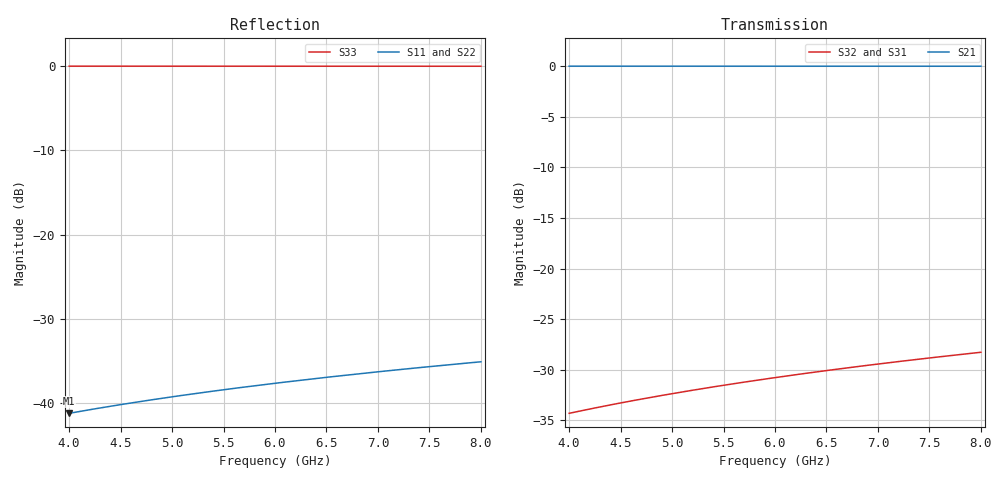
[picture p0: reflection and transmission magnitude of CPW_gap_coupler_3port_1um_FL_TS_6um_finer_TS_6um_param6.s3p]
! Sonnet Data File
! From: em Version : 15.52
! From Project: CPW_gap_coupler_3port_1um_FL_TS_6um_finer
! Data is De-embedded
! Data File Written: 08/14/2018 18:07:51
!< HDATE 08/14/2018 17:46:56
!< MDATE 08/14/2018 17:46:56
!< PARAMS
!< gap = 2.0
!< cpwS = 5.0
!< cpwS1 = 5.0
!< feedW = 12.0
!< feedS1 = 5.0
!< cond_length = 544.0
!< inner_length = 526.0
!< hangerW = 12.0000175
!< open_gap = 22.0
!< coupler_length = 550.0
!< END PARAMS
# GHZ S MA R 50.00000
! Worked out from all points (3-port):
!   201 points, 4 GHz to 8 GHz, reference 50 ohm
!   strongest paths, dB at 4 GHz, 5 GHz, 6 GHz, 7 GHz, 8 GHz:
!     S21: 0.0, 0.0, 0.0, 0.0, 0.0
!     S32: -34.3, -32.4, -30.8, -29.4, -28.3
!     S31: -34.3, -32.4, -30.8, -29.5, -28.3
!   lowest |S11| = -41.2 dB at 4 GHz (marker M1), VSWR 1.02, Z = 50.1 + j0.871 ohm
!   |S11| at or under -10 dB: start of sweep to end of sweep
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4  0.008746 83.9  0.9998 -9.3  0.01926 73.7
   0.9998 -9.3  0.008677 80.0  0.01929 82.5
   0.01926 73.7  0.01929 82.5  0.9996 -15.0
4.22  0.009231 83.6  0.9998 -9.8  0.02031 72.8
      0.9998 -9.8  0.00915 79.4  0.02035 82.1
      0.02031 72.8  0.02035 82.1  0.9996 -15.8
4.46  0.009761 83.2  0.9997 -10.3  0.02146 71.8
      0.9997 -10.3  0.009665 78.8  0.02151 81.7
      0.02146 71.8  0.02151 81.7  0.9995 -16.7
4.94  0.01082 82.4  0.9997 -11.4  0.02377 69.8
      0.9997 -11.4  0.01069 77.6  0.02382 80.8
      0.02377 69.8  0.02382 80.8  0.9994 -18.6
5.46  0.01197 81.6  0.9996 -12.7  0.02626 67.7
      0.9996 -12.7  0.0118 76.3  0.02634 79.8
      0.02626 67.7  0.02634 79.8  0.9993 -20.5
6  0.01318 80.8  0.9995 -13.9  0.02884 65.5
   0.9995 -13.9  0.01294 75.0  0.02895 78.8
   0.02884 65.5  0.02895 78.8  0.9992 -22.5
6.48  0.01425 80.0  0.9994 -15.0  0.03113 63.6
      0.9994 -15.0  0.01396 73.8  0.03127 77.8
      0.03113 63.6  0.03127 77.8  0.999 -24.4
6.98  0.01537 79.2  0.9993 -16.2  0.03352 61.5
      0.9993 -16.2  0.01501 72.5  0.03368 76.9
      0.03352 61.5  0.03368 76.9  0.9989 -26.2
7.5  0.01654 78.4  0.9992 -17.4  0.03599 59.4
     0.9992 -17.4  0.01609 71.2  0.0362 75.9
     0.03599 59.4  0.0362 75.9  0.9987 -28.2
8  0.01767 77.5  0.9991 -18.5  0.03837 57.3
   0.9991 -18.5  0.01713 69.9  0.03862 75.0
   0.03837 57.3  0.03862 75.0  0.9985 -30.1
